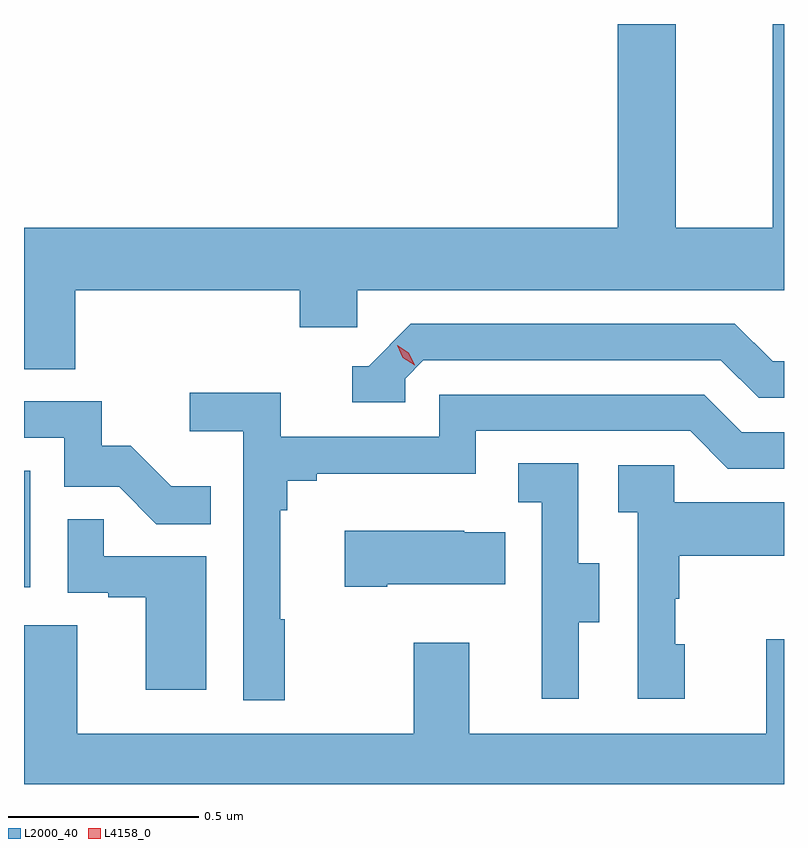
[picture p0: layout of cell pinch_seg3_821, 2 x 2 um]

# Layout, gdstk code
import gdstk
lib = gdstk.Library(unit=1e-6, precision=1e-09)
def R(c, l, rs):  # rectangles x0, y0, x1, y1
    for r in rs: c.add(gdstk.rectangle(r[:2], r[2:], *l))
def P(c, l, *ps):  # polygons
    for p in ps: c.add(gdstk.Polygon(p, *l))
L2000_40 = (2000, 40)
L4158_0 = (4158, 0)

pinch_seg3_821 = lib.new_cell('pinch_seg3_821')
R(pinch_seg3_821, L2000_40, [(857.441,710.79,857.458,711.097)])
P(pinch_seg3_821, L2000_40, [(857.576,711.572),(858.167,711.572),(858.167,711.474),(858.318,711.474),(858.318,711.572),(859.441,711.572),(859.441,712.272),(859.412,712.272),(859.412,711.736),(859.156,711.736),(859.156,712.272),(859.004,712.272),(859.004,711.736),(857.441,711.736),(857.441,711.364),(857.576,711.364)],
  [(858.444,711.339),(858.492,711.387),(859.275,711.387),(859.374,711.288),(859.441,711.288),(859.441,711.384),(859.411,711.384),(859.312,711.483),(858.459,711.483),(858.348,711.372),(858.305,711.372),(858.305,711.276),(858.444,711.276)],
  [(858.127,710.705),(858.115,710.705),(858.115,710.993),(858.134,710.993),(858.134,711.07),(858.211,711.07),(858.211,711.089),(858.63,711.089),(858.63,711.201),(859.194,711.201),(859.293,711.102),(859.441,711.102),(859.441,711.198),(859.33,711.198),(859.231,711.297),(858.534,711.297),(858.534,711.186),(858.116,711.186),(858.116,711.302),(857.877,711.302),(857.877,711.2),(858.018,711.2),(858.018,710.493),(858.127,710.493)],
  [(857.933,711.055),(857.829,711.055),(857.722,711.162),(857.646,711.162),(857.646,711.279),(857.441,711.279),(857.441,711.183),(857.547,711.183),(857.547,711.054),(857.691,711.054),(857.789,710.956),(857.933,710.956)],
  [(858.901,710.698),(858.955,710.698),(858.955,710.853),(858.9,710.853),(858.9,711.116),(858.741,711.116),(858.741,711.013),(858.804,711.013),(858.804,710.709),(858.803,710.709),(858.803,710.496),(858.901,710.496)],
  [(859.18,710.64),(859.155,710.64),(859.155,710.759),(859.165,710.759),(859.165,710.873),(859.441,710.873),(859.441,711.013),(859.152,711.013),(859.152,711.111),(859.005,711.111),(859.005,710.987),(859.056,710.987),(859.056,710.496),(859.18,710.496)],
  [(857.92,710.871),(857.651,710.871),(857.651,710.969),(857.556,710.969),(857.556,710.775),(857.663,710.775),(857.663,710.763),(857.762,710.763),(857.762,710.52),(857.92,710.52)],
  [(858.397,710.798),(858.707,710.798),(858.707,710.935),(858.599,710.935),(858.599,710.938),(858.285,710.938),(858.285,710.791),(858.397,710.791)],
  [(859.441,710.653),(859.394,710.653),(859.394,710.404),(858.613,710.404),(858.613,710.644),(858.466,710.644),(858.466,710.404),(857.581,710.404),(857.581,710.69),(857.441,710.69),(857.441,710.272),(859.441,710.272)])
P(pinch_seg3_821, L4158_0, [(858.469,711.374),(858.438,711.394),(858.423,711.427),(858.423,711.427),(858.423,711.427),(858.454,711.407),(858.469,711.374),(858.469,711.374)])

lib.write_gds('pinch_seg3_821.gds')
